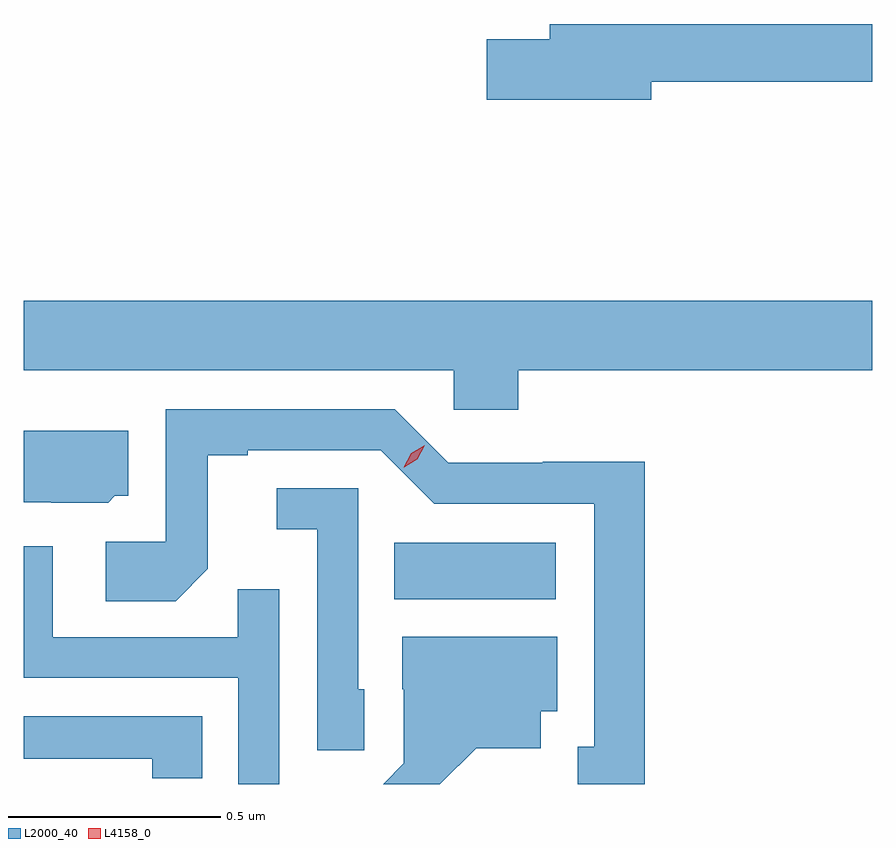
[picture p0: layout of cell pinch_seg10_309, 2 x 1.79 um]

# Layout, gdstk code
import gdstk
lib = gdstk.Library(unit=1e-6, precision=1e-09)
def R(c, l, rs):  # rectangles x0, y0, x1, y1
    for r in rs: c.add(gdstk.rectangle(r[:2], r[2:], *l))
def P(c, l, *ps):  # polygons
    for p in ps: c.add(gdstk.Polygon(p, *l))
L2000_40 = (2000, 40)
L4158_0 = (4158, 0)

pinch_seg10_309 = lib.new_cell('pinch_seg10_309')
R(pinch_seg10_309, L2000_40, [(492.346,1293.116,492.727,1293.25)])
P(pinch_seg10_309, L2000_40, [(492.952,1294.336),(493.473,1294.336),(493.473,1294.472),(492.713,1294.472),(492.713,1294.436),(492.564,1294.436),(492.564,1294.294),(492.952,1294.294)],
  [(492.638,1293.656),(493.473,1293.656),(493.473,1293.82),(491.473,1293.82),(491.473,1293.656),(492.486,1293.656),(492.486,1293.563),(492.638,1293.563)],
  [(492.937,1293.44),(492.696,1293.44),(492.696,1293.438),(492.474,1293.438),(492.348,1293.564),(491.808,1293.564),(491.808,1293.252),(491.667,1293.252),(491.667,1293.112),(491.831,1293.112),(491.907,1293.188),(491.907,1293.456),(492.001,1293.456),(492.001,1293.468),(492.315,1293.468),(492.441,1293.342),(492.818,1293.342),(492.818,1292.769),(492.779,1292.769),(492.779,1292.681),(492.937,1292.681)],
  [(491.688,1293.36),(491.719,1293.36),(491.719,1293.514),(491.473,1293.514),(491.473,1293.345),(491.538,1293.345),(491.538,1293.344),(491.672,1293.344)],
  [(492.276,1292.904),(492.261,1292.904),(492.261,1293.378),(492.069,1293.378),(492.069,1293.281),(492.165,1293.281),(492.165,1292.761),(492.276,1292.761)],
  [(492.075,1293.14),(491.977,1293.14),(491.977,1293.027),(491.541,1293.027),(491.541,1293.241),(491.473,1293.241),(491.473,1292.931),(491.979,1292.931),(491.979,1292.681),(492.075,1292.681)],
  [(492.539,1292.765),(492.691,1292.765),(492.691,1292.852),(492.73,1292.852),(492.73,1293.028),(492.365,1293.028),(492.365,1292.904),(492.369,1292.904),(492.369,1292.73),(492.32,1292.681),(492.454,1292.681)],
  [(491.894,1292.841),(491.473,1292.841),(491.473,1292.74),(491.776,1292.74),(491.776,1292.694),(491.894,1292.694)])
P(pinch_seg10_309, L4158_0, [(492.369,1293.427),(492.369,1293.427),(492.386,1293.46),(492.418,1293.479),(492.418,1293.479),(492.418,1293.479),(492.401,1293.446),(492.37,1293.427)])

lib.write_gds('pinch_seg10_309.gds')
